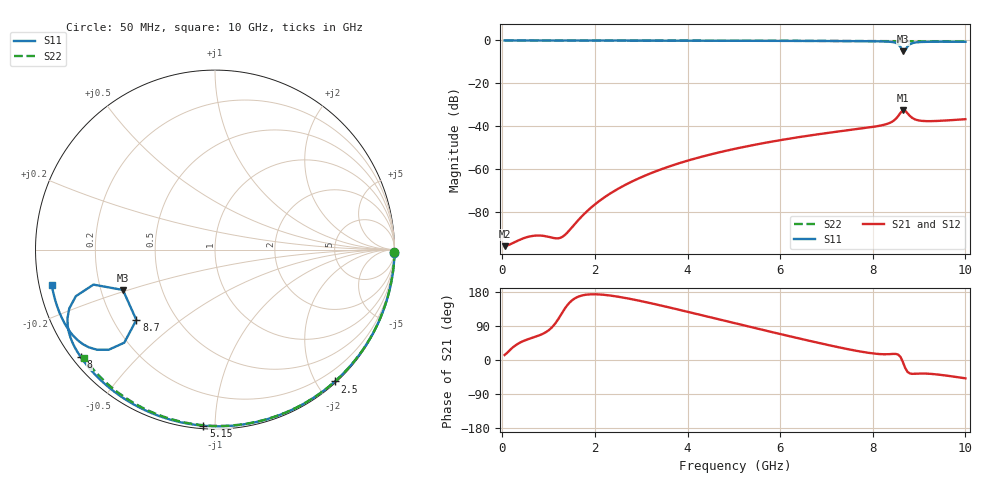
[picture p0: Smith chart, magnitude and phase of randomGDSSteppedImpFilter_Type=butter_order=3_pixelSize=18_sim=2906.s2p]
! freq	dB(S11)	phase(S11)	dB(S12)	phase(S12)
!  dB(S21)	phase(S21)	dB(S22)	phase(S22)
!S-par simulation data
#  GHz  S  DB  R 50
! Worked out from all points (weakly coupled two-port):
!   200 points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, 50 MHz to 10 GHz, reference 50 ohm
!   highest |S21| = -32.55 dB at 8.65 GHz (marker M1); lowest = -96.0 dB at 50 MHz (marker M2)
!   lowest |S11| = -5.0 dB at 8.65 GHz (marker M3), VSWR 3.55, Z = 14.7 - j9.61 ohm
!   |S11| at or under -10 dB: nowhere
!   |S22| runs from -0.5 to 0.0 dB; largest |S21 - S12| = 0
!   S11 on the Smith chart (normalised r, x): 50 MHz: open; 2.5 GHz: 0.02, -2.26; 5.15 GHz: 0.02, -0.94; 8 GHz: 0.02, -0.35; 8.7 GHz: 0.29, -0.35; 10 GHz: 0.04, -0.11
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0.05  -0.00 -1.0  -95.97 13.2  -95.97 13.2  -0.00 -0.8
0.85  -0.02 -16.6  -91.07 67.7  -91.07 67.7  -0.02 -13.7
1.75  -0.04 -33.8  -81.33 171.1  -81.33 171.1  -0.04 -28.0
1.8  -0.04 -34.7  -80.27 172.1  -80.27 172.1  -0.04 -28.8
2.15  -0.05 -41.3  -74.03 172.5  -74.03 172.5  -0.04 -34.2
2.5  -0.06 -47.7  -69.21 167.0  -69.21 167.0  -0.05 -39.6
3.4  -0.08 -64.0  -60.35 144.5  -60.35 144.5  -0.07 -53.2
4.15  -0.11 -77.0  -55.16 122.8  -55.16 122.8  -0.09 -64.2
5.05  -0.14 -92.1  -50.42 96.2  -50.42 96.2  -0.12 -76.9
5.15  -0.15 -93.8  -49.97 93.3  -49.97 93.3  -0.12 -78.3
6.7  -0.23 -118.9  -44.14 48.7  -44.14 48.7  -0.19 -99.1
8  -0.37 -141.3  -40.34 17.4  -40.34 17.4  -0.28 -115.7
8.35  -0.58 -150.6  -38.62 15.4  -38.62 15.4  -0.31 -120.0
8.55  -1.75 -161.5  -35.26 14.1  -35.26 14.1  -0.33 -122.5
8.6  -3.04 -163.9  -33.73 8.0  -33.73 8.0  -0.33 -123.1
8.65  -5.03 -156.3  -32.55 -5.1  -32.55 -5.1  -0.33 -123.7
8.7  -4.61 -138.2  -32.75 -21.0  -32.75 -21.0  -0.34 -124.4
8.75  -2.80 -134.3  -33.97 -31.3  -33.97 -31.3  -0.34 -125.0
8.8  -1.79 -136.7  -35.20 -35.4  -35.20 -35.4  -0.35 -125.6
8.9  -1.02 -142.2  -36.70 -36.5  -36.70 -36.5  -0.36 -126.8
9.05  -0.71 -147.8  -37.50 -35.7  -37.50 -35.7  -0.37 -128.7
10  -0.62 -167.7  -36.73 -48.4  -36.73 -48.4  -0.48 -140.4
